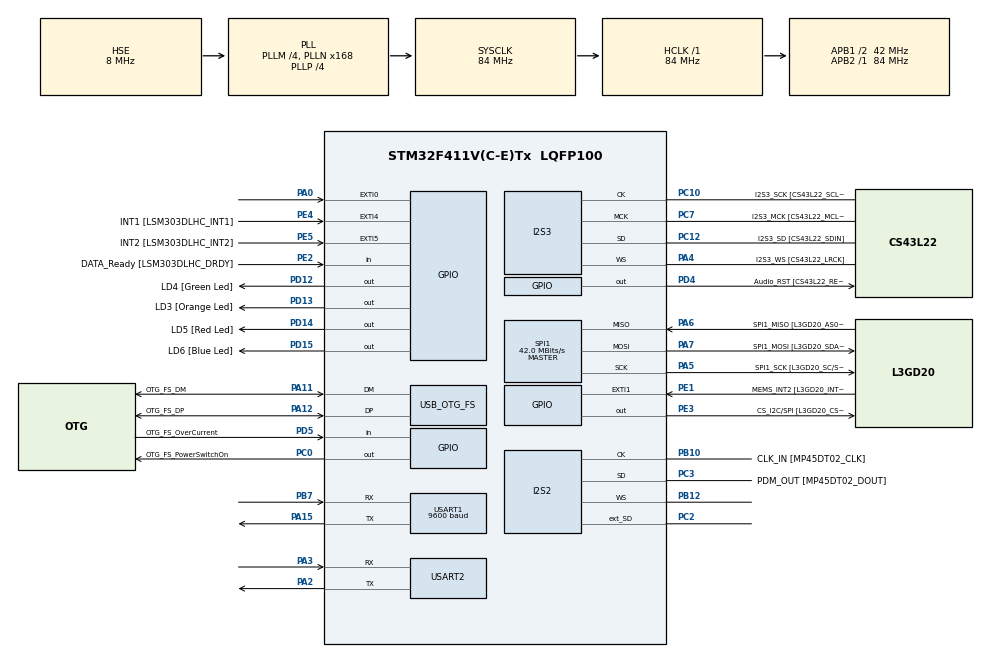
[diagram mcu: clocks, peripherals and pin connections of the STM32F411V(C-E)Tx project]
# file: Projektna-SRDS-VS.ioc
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FREERTOS.Tasks01=defaultTask,24,128,StartDefaultTask,Default,NULL,Dynamic,NULL,NULL
I2S2.AudioFreq=I2S_AUDIOFREQ_96K
I2S2.ErrorAudioFreq=0.15 %
I2S2.FullDuplexMode=I2S_FULLDUPLEXMODE_ENABLE
I2S2.Instance=SPI$Index
I2S2.RealAudioFreq=96.153 KHz
I2S2.VirtualMode=I2S_MODE_MASTER
I2S3.AudioFreq=I2S_AUDIOFREQ_96K
I2S3.ErrorAudioFreq=-6.99 %
I2S3.FullDuplexMode=I2S_FULLDUPLEXMODE_DISABLE
I2S3.Instance=SPI$Index
I2S3.RealAudioFreq=89.285 KHz
I2S3.VirtualMode=I2S_MODE_MASTER
Mcu.Family=STM32F4
Mcu.Name=STM32F411V(C-E)Tx
Mcu.Package=LQFP100
NVIC.OTG_FS_IRQn=true\:5\:0\:false\:false\:true\:true\:true\:true\:true
NVIC.PriorityGroup=NVIC_PRIORITYGROUP_4
NVIC.USART2_IRQn=true\:5\:0\:false\:false\:true\:true\:true\:true\:true
PA0-WKUP.GPIO_ModeDefaultEXTI=GPIO_MODE_EVT_RISING
PA0-WKUP.Signal=GPXTI0
PA10.GPIO_Label=OTG_FS_ID
PA10.Signal=USB_OTG_FS_ID
PA11.GPIO_Label=OTG_FS_DM
PA11.Mode=Device_Only
PA11.Signal=USB_OTG_FS_DM
PA12.GPIO_Label=OTG_FS_DP
PA12.Mode=Device_Only
PA12.Signal=USB_OTG_FS_DP
PA13.GPIO_Label=SWDIO
PA13.Mode=Serial_Wire
PA13.Signal=SYS_JTMS-SWDIO
PA14.GPIO_Label=SWCLK
PA14.Mode=Serial_Wire
PA14.Signal=SYS_JTCK-SWCLK
PA15.Mode=Asynchronous
PA15.Signal=USART1_TX
PA2.Mode=Asynchronous
PA2.Signal=USART2_TX
PA3.Mode=Asynchronous
PA3.Signal=USART2_RX
PA4.GPIO_Label=I2S3_WS [CS43L22_LRCK]
PA4.GPIO_Mode=GPIO_MODE_AF_PP
PA4.GPIO_PuPd=GPIO_NOPULL
PA4.GPIO_Speed=GPIO_SPEED_FREQ_LOW
PA4.Mode=Half_Duplex_Master
PA4.Signal=I2S3_WS
PA5.GPIO_Label=SPI1_SCK [L3GD20_SC/SPC]
PA5.Mode=Full_Duplex_Master
PA5.Signal=SPI1_SCK
PA6.GPIO_Label=SPI1_MISO [L3GD20_AS0/SDO]
PA6.Mode=Full_Duplex_Master
PA6.Signal=SPI1_MISO
PA7.GPIO_Label=SPI1_MOSI [L3GD20_SDA/SDI/SDO]
PA7.Mode=Full_Duplex_Master
PA7.Signal=SPI1_MOSI
PA9.GPIO_Label=VBUS_FS
PA9.Signal=USB_OTG_FS_VBUS
PB10.GPIO_Label=CLK_IN [MP45DT02_CLK]
PB10.Mode=Full_Duplex_Master
PB10.Signal=I2S2_CK
PB12.Mode=Full_Duplex_Master
PB12.Signal=I2S2_WS
PB3.GPIO_Label=SWO
PB3.Signal=SYS_JTDO-SWO
PB6.GPIO_Label=Audio_SCL [CS43L22_SCL]
PB6.GPIO_Mode=GPIO_MODE_AF_OD
PB6.GPIO_Pu=GPIO_PULLUP
PB6.GPIO_PuPd=GPIO_NOPULL
PB6.GPIO_Speed=GPIO_SPEED_FREQ_LOW
PB6.Signal=I2C1_SCL
PB7.Mode=Asynchronous
PB7.Signal=USART1_RX
PB9.GPIO_Label=Audio_SDA [CS43L22_SDA]
PB9.GPIO_Mode=GPIO_MODE_AF_OD
PB9.GPIO_Pu=GPIO_PULLUP
PB9.GPIO_PuPd=GPIO_NOPULL
PB9.GPIO_Speed=GPIO_SPEED_FREQ_LOW
PB9.Signal=I2C1_SDA
PC0.GPIO_Label=OTG_FS_PowerSwitchOn
PC0.PinState=GPIO_PIN_SET
PC0.Signal=GPIO_Output
PC10.GPIO_Label=I2S3_SCK [CS43L22_SCLK]
PC10.GPIO_Mode=GPIO_MODE_AF_PP
PC10.GPIO_PuPd=GPIO_NOPULL
PC10.GPIO_Speed=GPIO_SPEED_FREQ_LOW
PC10.Mode=Half_Duplex_Master
PC10.Signal=I2S3_CK
PC12.GPIO_Label=I2S3_SD [CS43L22_SDIN]
PC12.GPIO_Mode=GPIO_MODE_AF_PP
PC12.GPIO_PuPd=GPIO_NOPULL
PC12.GPIO_Speed=GPIO_SPEED_FREQ_LOW
PC12.Mode=Half_Duplex_Master
PC12.Signal=I2S3_SD
PC14-OSC32_IN.GPIO_Label=PC14-OSC32_IN
PC14-OSC32_IN.Mode=LSE-External-Oscillator
PC14-OSC32_IN.Signal=RCC_OSC32_IN
PC15-OSC32_OUT.GPIO_Label=PC15-OSC32_OUT
PC15-OSC32_OUT.Mode=LSE-External-Oscillator
PC15-OSC32_OUT.Signal=RCC_OSC32_OUT
PC2.Mode=Full_Duplex_Master
PC2.Signal=I2S2_ext_SD
PC3.GPIO_Label=PDM_OUT [MP45DT02_DOUT]
PC3.Mode=Full_Duplex_Master
PC3.Signal=I2S2_SD
PC7.GPIO_Label=I2S3_MCK [CS43L22_MCLK]
PC7.GPIO_Mode=GPIO_MODE_AF_PP
PC7.GPIO_PuPd=GPIO_NOPULL
PC7.GPIO_Speed=GPIO_SPEED_FREQ_LOW
PC7.Mode=Master_Clock_Activated
PC7.Signal=I2S3_MCK
PD12.GPIO_Label=LD4 [Green Led]
PD12.GPIO_PuPd=GPIO_NOPULL
PD12.GPIO_Speed=GPIO_SPEED_FREQ_LOW
PD12.Signal=GPIO_Output
PD13.GPIO_Label=LD3 [Orange Led]
PD13.GPIO_PuPd=GPIO_NOPULL
PD13.GPIO_Speed=GPIO_SPEED_FREQ_LOW
PD13.Signal=GPIO_Output
PD14.GPIO_Label=LD5 [Red Led]
PD14.GPIO_PuPd=GPIO_NOPULL
PD14.GPIO_Speed=GPIO_SPEED_FREQ_LOW
PD14.Signal=GPIO_Output
PD15.GPIO_Label=LD6 [Blue Led]
PD15.GPIO_PuPd=GPIO_NOPULL
PD15.GPIO_Speed=GPIO_SPEED_FREQ_LOW
PD15.Signal=GPIO_Output
PD4.GPIO_Label=Audio_RST [CS43L22_RESET]
PD4.Signal=GPIO_Output
PD5.GPIO_Label=OTG_FS_OverCurrent
PD5.Signal=GPIO_Input
PE1.GPIO_Label=MEMS_INT2 [L3GD20_INT2]
PE1.GPIO_ModeDefaultEXTI=GPIO_MODE_EVT_RISING
PE1.Signal=GPXTI1
PE2.GPIO_Label=DATA_Ready [LSM303DLHC_DRDY]
PE2.Signal=GPIO_Input
PE3.GPIO_Label=CS_I2C/SPI [L3GD20_CS_I2C/SPI]
PE3.Signal=GPIO_Output
PE4.GPIO_Label=INT1 [LSM303DLHC_INT1]
PE4.GPIO_ModeDefaultEXTI=GPIO_MODE_EVT_RISING
PE4.Signal=GPXTI4
PE5.GPIO_Label=INT2 [LSM303DLHC_INT2]
PE5.GPIO_ModeDefaultEXTI=GPIO_MODE_EVT_RISING
PE5.Signal=GPXTI5
PH0\ -\ OSC_IN.GPIO_Label=PH0-OSC_IN
PH0\ -\ OSC_IN.Mode=HSE-External-Oscillator
PH0\ -\ OSC_IN.Signal=RCC_OSC_IN
PH1\ -\ OSC_OUT.GPIO_Label=PH1-OSC_OUT
PH1\ -\ OSC_OUT.Mode=HSE-External-Oscillator
PH1\ -\ OSC_OUT.Signal=RCC_OSC_OUT
ProjectManager.HeapSize=0x200
ProjectManager.StackSize=0x400
ProjectManager.TargetToolchain=STM32CubeIDE
RCC.48MHZClocksFreq_Value=48000000
RCC.AHBFreq_Value=84000000
RCC.APB1CLKDivider=RCC_HCLK_DIV2
RCC.APB1Freq_Value=42000000
RCC.APB1TimFreq_Value=84000000
RCC.APB2Freq_Value=84000000
RCC.APB2TimFreq_Value=84000000
RCC.CortexFreq_Value=84000000
RCC.HCLKFreq_Value=84000000
RCC.HSE_VALUE=8000000
RCC.HSI_VALUE=16000000
RCC.PLLI2SM=5
RCC.PLLI2SN=200
RCC.PLLM=4
RCC.PLLN=168
RCC.PLLP=RCC_PLLP_DIV4
RCC.PLLQ=7
RCC.SYSCLKFreq_VALUE=84000000
RCC.SYSCLKSource=RCC_SYSCLKSOURCE_PLLCLK
RCC.VCOOutputFreq_Value=336000000
SPI1.BaudRatePrescaler=SPI_BAUDRATEPRESCALER_2
SPI1.CalculateBaudRate=42.0 MBits/s
SPI1.Direction=SPI_DIRECTION_2LINES
SPI1.Mode=SPI_MODE_MASTER
SPI1.VirtualType=VM_MASTER
USART1.BaudRate=9600
USART1.VirtualMode=VM_ASYNC
USART2.VirtualMode=VM_ASYNC
USB_DEVICE.CLASS_NAME_FS=CDC
USB_DEVICE.PRODUCT_STRING_CDC_FS=STM32 YOLO-receiver
USB_DEVICE.VirtualMode=Cdc
USB_DEVICE.VirtualModeFS=Cdc_FS
USB_OTG_FS.VirtualMode=Device_Only
VP_FREERTOS_VS_CMSIS_V2.Mode=CMSIS_V2
VP_USB_DEVICE_VS_USB_DEVICE_CDC_FS.Mode=CDC_FS
board=STM32F411E-DISCO

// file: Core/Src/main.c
/* USER CODE BEGIN Header */
/**
  ******************************************************************************
  * @file           : main.c
  * @brief          : Main program body
  ******************************************************************************
  * @attention
  *
  * Copyright (c) 2025 STMicroelectronics.
  * All rights reserved.
  *
  * This software is licensed under terms that can be found in the LICENSE file
  * in the root directory of this software component.
  * If no LICENSE file comes with this software, it is provided AS-IS.
  *
  ******************************************************************************
  */
/* USER CODE END Header */
#include "main.h"
#include "cmsis_os.h"
#include "usb_device.h"

/* USER CODE BEGIN Includes */
#include "usbd_cdc_if.h"
#include "queue.h"
/* USER CODE END Includes */

/* USER CODE BEGIN PTD */
typedef struct {
    uint8_t xPos;
    uint8_t yPos;
    char label[16]; // Label for "cyclist" or "motorcyclist"
} DetectionData_t;

/* USER CODE END PTD */

/* USER CODE BEGIN PD */
#define QUEUE_LENGTH 10
#define QUEUE_ITEM_SIZE sizeof(DetectionData_t)
#define UART_QUEUE_LENGTH 10
#define RX_BUFFER_SIZE 16

#define LED_CYCLIST GPIO_PIN_14
#define LED_MOTORCYCLIST GPIO_PIN_12
#define TOF_BUFFER_SIZE 16
/* USER CODE END PD */

I2S_HandleTypeDef hi2s2;
I2S_HandleTypeDef hi2s3;

SPI_HandleTypeDef hspi1;

UART_HandleTypeDef huart1;
UART_HandleTypeDef huart2;

/* Definitions for defaultTask */
osThreadId_t defaultTaskHandle;
const osThreadAttr_t defaultTask_attributes = {
  .name = "defaultTask",
  .stack_size = 128 * 4,
  .priority = (osPriority_t) osPriorityNormal,
};
/* USER CODE BEGIN PV */

/* Task Handles */
osThreadId dataReceptionTaskHandle;
osThreadId warningLogicTaskHandle;
osThreadId audioSignalTaskHandle;
osThreadId displayUpdateTaskHandle;
osThreadId tofSensorTaskHandle;
osThreadId communicationTaskHandle;

// Detection data queue
xQueueHandle detectionDataQueue;
xQueueHandle uartQueue;

uint8_t CDC_receivedBuffer[BUFFER_SIZE];

static uint8_t tof_receivedBuffer[TOF_BUFFER_SIZE];

SemaphoreHandle_t receiveSemaphore;

/* USER CODE END PV */

void SystemClock_Config(void);
void PeriphCommonClock_Config(void);
static void MX_GPIO_Init(void);
static void MX_I2S2_Init(void);
static void MX_I2S3_Init(void);
static void MX_SPI1_Init(void);
static void MX_USART1_UART_Init(void);
static void MX_USART2_UART_Init(void);
void StartDefaultTask(void *argument);

/* USER CODE BEGIN PFP */
void DataReceptionTask(void *argument);
void WarningLogicTask(void *argument);
void AudioSignalTask(void *argument);
void DisplayUpdateTask(void *argument);
void ToFSensorTask(void *argument);
void CommunicationTask(void *argument);
void DataProcessingTask(void *argument);
/* USER CODE END PFP */

/* USER CODE BEGIN 0 */

/* FreeRTOS Task Priorities */
#define PRIORITY_DATA_RECEPTION    5 // High priority: Critical for receiving detection data
#define PRIORITY_WARNING_LOGIC     4 // Important: Decision-making and alerts
#define PRIORITY_AUDIO_SIGNAL      3 // Medium: Needs timely response to warnings
#define PRIORITY_DISPLAY_UPDATE    2 // Low: Visual updates can tolerate some delay
#define PRIORITY_TOF_SENSOR        4 // Important: Accurate and timely distance measurement
#define PRIORITY_COMMUNICATION     2 // Low: Can operate asynchronously
#define PRIORITY_DATA_PROCESSING   4 // Important: Data processing and decision-making

/* FreeRTOS Stack Sizes */
#define STACK_SIZE_MINIMAL 128

void HAL_UART_RxCpltCallback(UART_HandleTypeDef *huart) {
    if (huart->Instance == USART2) {
        BaseType_t xHigherPriorityTaskWoken = pdFALSE;

        // Send data to the queue (non-blocking in ISR)
        xQueueSendFromISR(uartQueue, tof_receivedBuffer, &xHigherPriorityTaskWoken);

        // Reinitialize UART to receive more data
        if (HAL_UART_Receive_IT(&huart2, tof_receivedBuffer, sizeof(tof_receivedBuffer)) != HAL_OK) {
            Error_Handler();
        }

        // Yield to a higher-priority task if necessary
        portYIELD_FROM_ISR(xHigherPriorityTaskWoken);
    }
}

void HandleUARTError(HAL_StatusTypeDef status) {
    switch (status) {
        case HAL_ERROR:
            printf("UART Error occurred\n");
            break;
        case HAL_BUSY:
            printf("UART Busy\n");
            break;
        case HAL_TIMEOUT:
            printf("UART Timeout\n");
            break;
        default:
            printf("Unknown UART Error\n");
            break;
    }
}

void ProcessToFData(uint8_t *data, uint16_t length) {
    // Example: Parse and log received ToF sensor data
    uint16_t distance = 0;

    if (length >= 2) { // Assuming distance data is 2 bytes
        distance = (data[0] << 8) | data[1]; // Combine MSB and LSB
        printf("ToF Distance: %u mm\n", distance);
    } else {
        printf("Invalid ToF Data\n");
    }

    // Additional processing can be added here
}

void createTasks(void) {
    BaseType_t taskCreationStatus;

    taskCreationStatus = xTaskCreate(DataReceptionTask, "DataReception", STACK_SIZE_MINIMAL, NULL, PRIORITY_DATA_RECEPTION, NULL);
    if (taskCreationStatus != pdPASS) {
        // Handle error
    }

    taskCreationStatus = xTaskCreate(WarningLogicTask, "WarningLogic", STACK_SIZE_MINIMAL, NULL, PRIORITY_WARNING_LOGIC, NULL);
    if (taskCreationStatus != pdPASS) {
        // Handle error
    }

    taskCreationStatus = xTaskCreate(AudioSignalTask, "AudioSignal", STACK_SIZE_MINIMAL, NULL, PRIORITY_AUDIO_SIGNAL, NULL);
    if (taskCreationStatus != pdPASS) {
        // Handle error
    }

    taskCreationStatus = xTaskCreate(CommunicationTask, "Communication", STACK_SIZE_MINIMAL, NULL, PRIORITY_COMMUNICATION, NULL);
    if (taskCreationStatus != pdPASS) {
        // Handle error
    }

    taskCreationStatus = xTaskCreate(DataProcessingTask, "DataProcessing", STACK_SIZE_MINIMAL, NULL, PRIORITY_DATA_PROCESSING, NULL);
	if (taskCreationStatus != pdPASS) {
		// Handle error
	}

	detectionDataQueue = xQueueCreate( 10, sizeof( DetectionData_t ) );
	if (detectionDataQueue == NULL) {
		// Handle error
	}

	uartQueue = xQueueCreate(UART_QUEUE_LENGTH, sizeof(uint8_t));
	if (uartQueue == NULL) {
		// Handle error
	}

	receiveSemaphore = xSemaphoreCreateBinary();
	if (receiveSemaphore == NULL) {
		// Handle error
	}
}

void HandleInvalidData(uint8_t *data) {
	// Placeholder: Log invalid data

	if (CDC_Transmit_FS(data, sizeof(data) - 1) != USBD_OK) {

	}
}

void DataReceptionTask(void *argument) {
    DetectionData_t detectionData;

    for (;;) {
        // Wait for the semaphore, signaling new data reception
        if (xSemaphoreTake(receiveSemaphore, portMAX_DELAY) == pdTRUE) {
            // Parse the received data
            if (sscanf((char *)CDC_receivedBuffer, "%hhu,%hhu,%49s",
                       &detectionData.xPos, &detectionData.yPos, detectionData.label) == 3) {
                // Send parsed data to the queue
                if (xQueueSend(detectionDataQueue, &detectionData, portMAX_DELAY) != pdPASS) {
                    // Handle queue send failure (e.g., log an error)
                }
            } else {
                // Handle invalid data (optional)
                HandleInvalidData(CDC_receivedBuffer);
            }

            // Clear the buffer after processing
            memset(CDC_receivedBuffer, 0, sizeof(CDC_receivedBuffer));
        }

        // Optional: Delay to prevent CPU hogging
        osDelay(10);
    }
}

void DataProcessingTask(void *argument) {
    DetectionData_t receivedData;

    for (;;) {
        // Wait for data from the queue

        if (xQueueReceive(detectionDataQueue, &receivedData, portMAX_DELAY) == pdPASS) {
            // Process the received data
            if (strcmp(receivedData.label, "cyclist") == 0) {
                HAL_GPIO_TogglePin(GPIOD, LED_CYCLIST);
            } else if (strcmp(receivedData.label, "motorcyclist") == 0) {
                HAL_GPIO_TogglePin(GPIOD, LED_MOTORCYCLIST);
            } else {
                // Handle unknown label
                //HandleInvalidLabel(receivedData.label);
            }
        }
    }
}

void WarningLogicTask(void *argument) {
    for (;;) {
        // Placeholder: Analyze position data and make decisions
        // if (subject_is_close && subject_is_detected) { trigger_warning(); }
        osDelay(20); // Simulate task workload
    }
}

void AudioSignalTask(void *argument) {
    for (;;) {
        // Placeholder: Activate audio signals
        // if (warning_active) { HAL_GPIO_WritePin(SPEAKER_PIN, GPIO_PIN_SET); }
        osDelay(50); // Simulate task workload
    }
}

void CommunicationTask(void *argument) {
    for (;;) {
        // Wait for data from the queue
        if (xQueueReceive(uartQueue, tof_receivedBuffer, portMAX_DELAY) == pdPASS) {
            // Process the received data
            ProcessToFData(tof_receivedBuffer, sizeof(tof_receivedBuffer));
        }
    }
}
/* USER CODE END 0 */

int main(void)
{

  /* MCU Configuration--------------------------------------------------------*/

  /* Reset of all peripherals, Initializes the Flash interface and the Systick. */
  HAL_Init();

  /* USER CODE BEGIN Init */
  createTasks();

  /* USER CODE END Init */

  /* Configure the system clock */
  SystemClock_Config();

  /* Configure the peripherals common clocks */
  PeriphCommonClock_Config();

  /* Initialize all configured peripherals */
  MX_GPIO_Init();
  MX_I2S2_Init();
  MX_I2S3_Init();
  MX_SPI1_Init();
  MX_USART1_UART_Init();
  MX_USART2_UART_Init();

  /* Init scheduler */
  osKernelInitialize();

  /* Create the thread(s) */
  /* creation of defaultTask */
  defaultTaskHandle = osThreadNew(StartDefaultTask, NULL, &defaultTask_attributes);

  /* Start scheduler */
  osKernelStart();

  /* We should never get here as control is now taken by the scheduler */

  /* Infinite loop */
  while (1)
  {

  }
}

void SystemClock_Config(void)
{
  RCC_OscInitTypeDef RCC_OscInitStruct = {0};
  RCC_ClkInitTypeDef RCC_ClkInitStruct = {0};

  /** Configure the main internal regulator output voltage
  */
  __HAL_RCC_PWR_CLK_ENABLE();
  __HAL_PWR_VOLTAGESCALING_CONFIG(PWR_REGULATOR_VOLTAGE_SCALE1);

  /** Initializes the RCC Oscillators according to the specified parameters
  * in the RCC_OscInitTypeDef structure.
  */
  RCC_OscInitStruct.OscillatorType = RCC_OSCILLATORTYPE_HSE;
  RCC_OscInitStruct.HSEState = RCC_HSE_ON;
  RCC_OscInitStruct.PLL.PLLState = RCC_PLL_ON;
  RCC_OscInitStruct.PLL.PLLSource = RCC_PLLSOURCE_HSE;
  RCC_OscInitStruct.PLL.PLLM = 4;
  RCC_OscInitStruct.PLL.PLLN = 168;
  RCC_OscInitStruct.PLL.PLLP = RCC_PLLP_DIV4;
  RCC_OscInitStruct.PLL.PLLQ = 7;
  if (HAL_RCC_OscConfig(&RCC_OscInitStruct) != HAL_OK)
  {
    Error_Handler();
  }

  /** Initializes the CPU, AHB and APB buses clocks
  */
  RCC_ClkInitStruct.ClockType = RCC_CLOCKTYPE_HCLK|RCC_CLOCKTYPE_SYSCLK
                              |RCC_CLOCKTYPE_PCLK1|RCC_CLOCKTYPE_PCLK2;
  RCC_ClkInitStruct.SYSCLKSource = RCC_SYSCLKSOURCE_PLLCLK;
  RCC_ClkInitStruct.AHBCLKDivider = RCC_SYSCLK_DIV1;
  RCC_ClkInitStruct.APB1CLKDivider = RCC_HCLK_DIV2;
  RCC_ClkInitStruct.APB2CLKDivider = RCC_HCLK_DIV1;

  if (HAL_RCC_ClockConfig(&RCC_ClkInitStruct, FLASH_LATENCY_2) != HAL_OK)
  {
    Error_Handler();
  }
}

void PeriphCommonClock_Config(void)
{
  RCC_PeriphCLKInitTypeDef PeriphClkInitStruct = {0};

  /** Initializes the peripherals clock
  */
  PeriphClkInitStruct.PeriphClockSelection = RCC_PERIPHCLK_I2S;
  PeriphClkInitStruct.PLLI2S.PLLI2SN = 200;
  PeriphClkInitStruct.PLLI2S.PLLI2SM = 5;
  PeriphClkInitStruct.PLLI2S.PLLI2SR = 2;
  if (HAL_RCCEx_PeriphCLKConfig(&PeriphClkInitStruct) != HAL_OK)
  {
    Error_Handler();
  }
}

static void MX_I2S2_Init(void)
{

  hi2s2.Instance = SPI2;
  hi2s2.Init.Mode = I2S_MODE_MASTER_TX;
  hi2s2.Init.Standard = I2S_STANDARD_PHILIPS;
  hi2s2.Init.DataFormat = I2S_DATAFORMAT_16B;
  hi2s2.Init.MCLKOutput = I2S_MCLKOUTPUT_DISABLE;
  hi2s2.Init.AudioFreq = I2S_AUDIOFREQ_96K;
  hi2s2.Init.CPOL = I2S_CPOL_LOW;
  hi2s2.Init.ClockSource = I2S_CLOCK_PLL;
  hi2s2.Init.FullDuplexMode = I2S_FULLDUPLEXMODE_ENABLE;
  if (HAL_I2S_Init(&hi2s2) != HAL_OK)
  {
    Error_Handler();
  }

}

static void MX_I2S3_Init(void)
{

  hi2s3.Instance = SPI3;
  hi2s3.Init.Mode = I2S_MODE_MASTER_TX;
  hi2s3.Init.Standard = I2S_STANDARD_PHILIPS;
  hi2s3.Init.DataFormat = I2S_DATAFORMAT_16B;
  hi2s3.Init.MCLKOutput = I2S_MCLKOUTPUT_ENABLE;
  hi2s3.Init.AudioFreq = I2S_AUDIOFREQ_96K;
  hi2s3.Init.CPOL = I2S_CPOL_LOW;
  hi2s3.Init.ClockSource = I2S_CLOCK_PLL;
  hi2s3.Init.FullDuplexMode = I2S_FULLDUPLEXMODE_DISABLE;
  if (HAL_I2S_Init(&hi2s3) != HAL_OK)
  {
    Error_Handler();
  }

}

static void MX_SPI1_Init(void)
{

  /* SPI1 parameter configuration*/
  hspi1.Instance = SPI1;
  hspi1.Init.Mode = SPI_MODE_MASTER;
  hspi1.Init.Direction = SPI_DIRECTION_2LINES;
  hspi1.Init.DataSize = SPI_DATASIZE_8BIT;
  hspi1.Init.CLKPolarity = SPI_POLARITY_LOW;
  hspi1.Init.CLKPhase = SPI_PHASE_1EDGE;
  hspi1.Init.NSS = SPI_NSS_SOFT;
  hspi1.Init.BaudRatePrescaler = SPI_BAUDRATEPRESCALER_2;
  hspi1.Init.FirstBit = SPI_FIRSTBIT_MSB;
  hspi1.Init.TIMode = SPI_TIMODE_DISABLE;
  hspi1.Init.CRCCalculation = SPI_CRCCALCULATION_DISABLE;
  hspi1.Init.CRCPolynomial = 10;
  if (HAL_SPI_Init(&hspi1) != HAL_OK)
  {
    Error_Handler();
  }

}

static void MX_USART1_UART_Init(void)
{

  huart1.Instance = USART1;
  huart1.Init.BaudRate = 9600;
  huart1.Init.WordLength = UART_WORDLENGTH_8B;
  huart1.Init.StopBits = UART_STOPBITS_1;
  huart1.Init.Parity = UART_PARITY_NONE;
  huart1.Init.Mode = UART_MODE_TX_RX;
  huart1.Init.HwFlowCtl = UART_HWCONTROL_NONE;
  huart1.Init.OverSampling = UART_OVERSAMPLING_16;
  if (HAL_UART_Init(&huart1) != HAL_OK)
  {
    Error_Handler();
  }

}

static void MX_USART2_UART_Init(void)
{

  huart2.Instance = USART2;
  huart2.Init.BaudRate = 115200;
  huart2.Init.WordLength = UART_WORDLENGTH_8B;
  huart2.Init.StopBits = UART_STOPBITS_1;
  huart2.Init.Parity = UART_PARITY_NONE;
  huart2.Init.Mode = UART_MODE_TX_RX;
  huart2.Init.HwFlowCtl = UART_HWCONTROL_NONE;
  huart2.Init.OverSampling = UART_OVERSAMPLING_16;
  if (HAL_UART_Init(&huart2) != HAL_OK)
  {
    Error_Handler();
  }
  /* USER CODE BEGIN USART2_Init 2 */
  if (HAL_UART_Receive_IT(&huart2, tof_receivedBuffer, sizeof(tof_receivedBuffer)) != HAL_OK) {
          // Handle error
          Error_Handler();
      }
  /* USER CODE END USART2_Init 2 */

}

static void MX_GPIO_Init(void)
{
  GPIO_InitTypeDef GPIO_InitStruct = {0};

  /* GPIO Ports Clock Enable */
  __HAL_RCC_GPIOE_CLK_ENABLE();
  __HAL_RCC_GPIOC_CLK_ENABLE();
  __HAL_RCC_GPIOH_CLK_ENABLE();
  __HAL_RCC_GPIOA_CLK_ENABLE();
  __HAL_RCC_GPIOB_CLK_ENABLE();
  __HAL_RCC_GPIOD_CLK_ENABLE();

  /*Configure GPIO pin Output Level */
  HAL_GPIO_WritePin(CS_I2C_SPI_GPIO_Port, CS_I2C_SPI_Pin, GPIO_PIN_RESET);

  /*Configure GPIO pin Output Level */
  HAL_GPIO_WritePin(OTG_FS_PowerSwitchOn_GPIO_Port, OTG_FS_PowerSwitchOn_Pin, GPIO_PIN_SET);

  /*Configure GPIO pin Output Level */
  HAL_GPIO_WritePin(GPIOD, LD4_Pin|LD3_Pin|LD5_Pin|LD6_Pin
                          |Audio_RST_Pin, GPIO_PIN_RESET);

  /*Configure GPIO pin : DATA_Ready_Pin */
  GPIO_InitStruct.Pin = DATA_Ready_Pin;
  GPIO_InitStruct.Mode = GPIO_MODE_INPUT;
  GPIO_InitStruct.Pull = GPIO_NOPULL;
  HAL_GPIO_Init(DATA_Ready_GPIO_Port, &GPIO_InitStruct);

  /*Configure GPIO pin : CS_I2C_SPI_Pin */
  GPIO_InitStruct.Pin = CS_I2C_SPI_Pin;
  GPIO_InitStruct.Mode = GPIO_MODE_OUTPUT_PP;
  GPIO_InitStruct.Pull = GPIO_NOPULL;
  GPIO_InitStruct.Speed = GPIO_SPEED_FREQ_LOW;
  HAL_GPIO_Init(CS_I2C_SPI_GPIO_Port, &GPIO_InitStruct);

  /*Configure GPIO pins : INT1_Pin INT2_Pin MEMS_INT2_Pin */
  GPIO_InitStruct.Pin = INT1_Pin|INT2_Pin|MEMS_INT2_Pin;
  GPIO_InitStruct.Mode = GPIO_MODE_EVT_RISING;
  GPIO_InitStruct.Pull = GPIO_NOPULL;
  HAL_GPIO_Init(GPIOE, &GPIO_InitStruct);

  /*Configure GPIO pin : OTG_FS_PowerSwitchOn_Pin */
  GPIO_InitStruct.Pin = OTG_FS_PowerSwitchOn_Pin;
  GPIO_InitStruct.Mode = GPIO_MODE_OUTPUT_PP;
  GPIO_InitStruct.Pull = GPIO_NOPULL;
  GPIO_InitStruct.Speed = GPIO_SPEED_FREQ_LOW;
  HAL_GPIO_Init(OTG_FS_PowerSwitchOn_GPIO_Port, &GPIO_InitStruct);

  /*Configure GPIO pin : PA0 */
  GPIO_InitStruct.Pin = GPIO_PIN_0;
  GPIO_InitStruct.Mode = GPIO_MODE_EVT_RISING;
  GPIO_InitStruct.Pull = GPIO_NOPULL;
  HAL_GPIO_Init(GPIOA, &GPIO_InitStruct);

  /*Configure GPIO pins : LD4_Pin LD3_Pin LD5_Pin LD6_Pin
                           Audio_RST_Pin */
  GPIO_InitStruct.Pin = LD4_Pin|LD3_Pin|LD5_Pin|LD6_Pin
                          |Audio_RST_Pin;
  GPIO_InitStruct.Mode = GPIO_MODE_OUTPUT_PP;
  GPIO_InitStruct.Pull = GPIO_NOPULL;
  GPIO_InitStruct.Speed = GPIO_SPEED_FREQ_LOW;
  HAL_GPIO_Init(GPIOD, &GPIO_InitStruct);

  /*Configure GPIO pin : OTG_FS_OverCurrent_Pin */
  GPIO_InitStruct.Pin = OTG_FS_OverCurrent_Pin;
  GPIO_InitStruct.Mode = GPIO_MODE_INPUT;
  GPIO_InitStruct.Pull = GPIO_NOPULL;
  HAL_GPIO_Init(OTG_FS_OverCurrent_GPIO_Port, &GPIO_InitStruct);

  /*Configure GPIO pins : Audio_SCL_Pin Audio_SDA_Pin */
  GPIO_InitStruct.Pin = Audio_SCL_Pin|Audio_SDA_Pin;
  GPIO_InitStruct.Mode = GPIO_MODE_AF_OD;
  GPIO_InitStruct.Pull = GPIO_PULLUP;
  GPIO_InitStruct.Speed = GPIO_SPEED_FREQ_LOW;
  GPIO_InitStruct.Alternate = GPIO_AF4_I2C1;
  HAL_GPIO_Init(GPIOB, &GPIO_InitStruct);

}

void StartDefaultTask(void *argument)
{
  /* init code for USB_DEVICE */
  MX_USB_DEVICE_Init();
  for(;;)
  {
    osDelay(1);
  }
}

void Error_Handler(void)
{
  __disable_irq();
  while (1)
  {
  }
}
